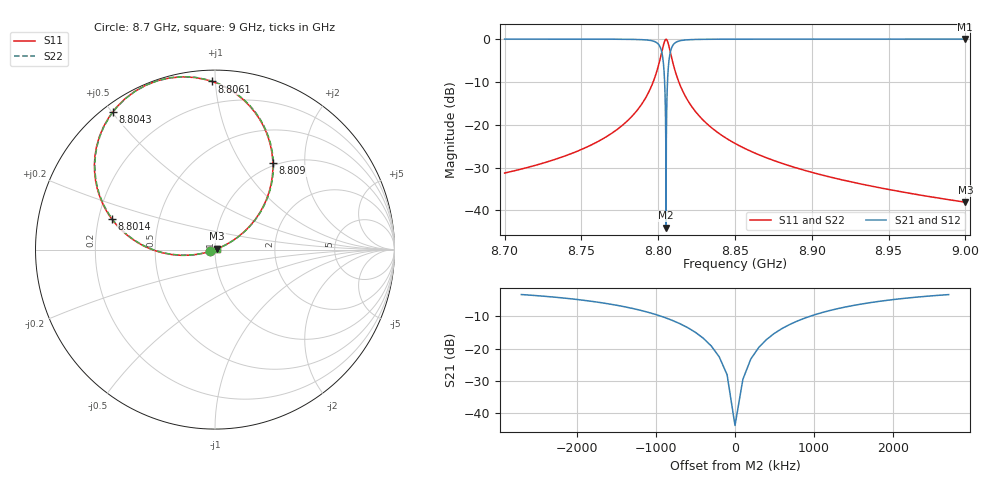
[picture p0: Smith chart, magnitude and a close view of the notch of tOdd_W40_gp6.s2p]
! Sonnet Data File
! From: emgraph Version : 16.52
! From Project: transmon_trial2
! Data is De-embedded
! Data File Written: 10/20/2017 11:33:10
!< HDATE 10/20/2017 10:41:42
!< MDATE 10/20/2017 10:41:42
!< PARAMS
!< Lj = 15.24
!< Gap = 6.0
!< Width = 40.0
!< Airgap = 24.0
!< Pwidth = 2000.0
!< END PARAMS
# GHZ S MA R 43.50000
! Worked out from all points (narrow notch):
!   3001 points, 8.7 GHz to 9 GHz, reference 43.5 ohm
!   highest |S21| = 0.00 dB at 8.9999 GHz (marker M1); lowest = -44.0 dB at 8.8051 GHz (marker M2)
!   notch at M2: 44.0 dB deep, 452 kHz wide at half that depth
!   lowest |S11| = -38.1 dB at 9 GHz (marker M3), VSWR 1.03, Z = 44.5 + j0.387 ohm
!   |S11| at or under -10 dB: start of sweep to 8.7967 GHz; 8.8134 GHz to end of sweep
!   |S22| runs from -38.1 to 0.0 dB; largest |S21 - S12| = 0
!   S11 on the Smith chart (normalised r, x): 8.7 GHz: 0.95, -0.02; 8.8014 GHz: 0.26, +0.14; 8.8043 GHz: 0.03, +0.50; 8.8061 GHz: 0.06, +0.98; 8.809 GHz: 0.96, +1.39; 9 GHz: 1.02, +0.01
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8.7  0.02733 -160.4  0.9996 -70.3  0.9996 -70.3  0.02733 -160.2
!< P1 F=8.7 Eeff=(4.81555861 -6.2189e-5) Z0=(43.3296017 -1.7655e-4) R=0.0 C=0.0
!< P2 F=8.7 Eeff=(4.81555861 -6.2189e-5) Z0=(43.3296017 -1.7655e-4) R=0.0 C=0.0
8.75  0.05146 -162.1  0.9987 -72.1  0.9987 -72.1  0.05146 -162.1
8.7691  0.07815 -163.7  0.9969 -73.8  0.9969 -73.8  0.07815 -163.9
8.7833  0.1277 -166.7  0.9917 -76.8  0.9917 -76.8  0.1277 -166.9
8.794  0.2441 -173.6  0.9694 -83.6  0.9694 -83.6  0.2441 -173.8
8.8  0.4788 171.8  0.8765 -98.2  0.8765 -98.2  0.4788 171.5
8.8014  0.5999 163.5  0.7976 -106.4  0.7976 -106.4  0.5999 163.2
8.803  0.7947 147.5  0.6011 -122.2  0.6011 -122.2  0.7947 147.2
8.8038  0.901 135.6  0.4231 -133.9  0.4231 -133.9  0.901 135.3
8.8043  0.9554 126.7  0.2773 -142.4  0.2773 -142.4  0.9554 126.4
8.8051  0.9944 110.7  0.0063 -97.2  0.0063 -97.2  0.9944 110.4
8.8061  0.9373 91.1  0.334 0.0  0.334 0.0  0.9373 90.7
8.8073  0.7828 72.5  0.6167 -18.1  0.6167 -18.1  0.7828 72.2
8.809  0.5802 56.2  0.8122 -34.1  0.8122 -34.1  0.5802 55.9
8.8124  0.3555 41.5  0.9339 -48.8  0.9339 -48.8  0.3555 41.1
8.818  0.2099 32.7  0.9775 -57.6  0.9775 -57.6  0.2099 32.3
8.8309  0.1061 26.6  0.9943 -63.7  0.9943 -63.7  0.1061 26.1
8.85  0.0606 23.8  0.9981 -66.5  0.9981 -66.5  0.0606 23.3
8.9  0.02786 21.7  0.9996 -68.7  0.9996 -68.7  0.02786 20.8
8.95  0.01758 20.9  0.9998 -69.7  0.9998 -69.7  0.01758 19.7
8.9999  0.01249 20.4  0.9999 -70.4  0.9999 -70.4  0.01249 18.8
9  0.01249 20.4  0.9999 -70.4  0.9999 -70.4  0.01249 18.8
